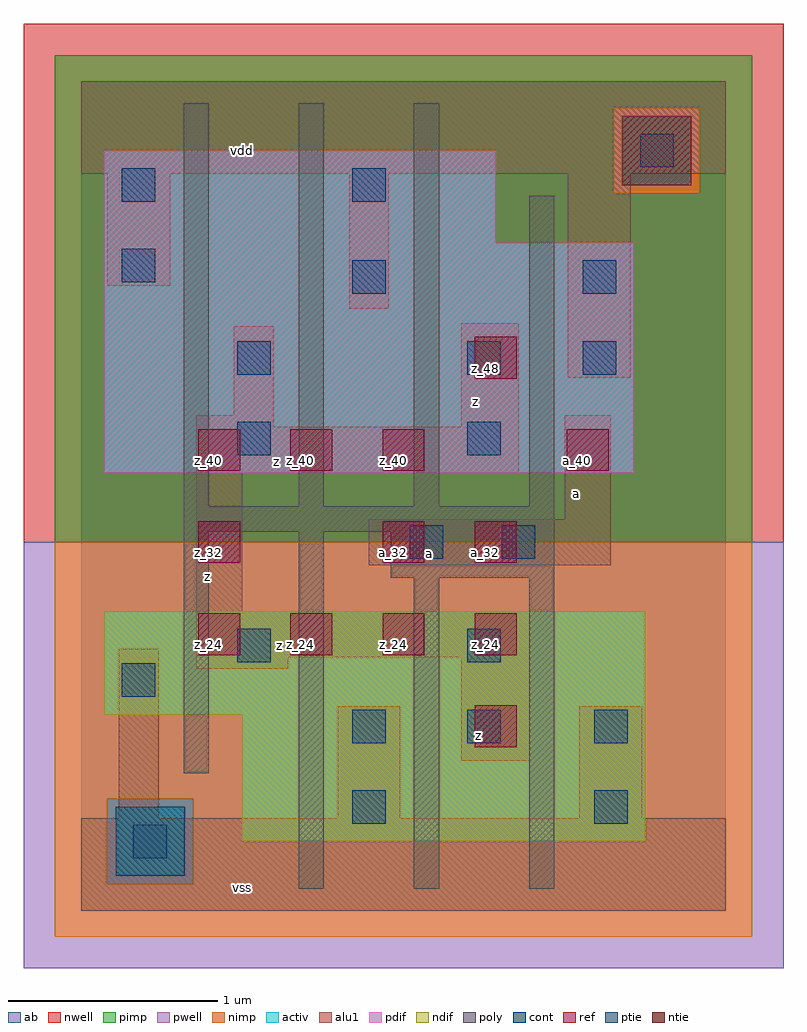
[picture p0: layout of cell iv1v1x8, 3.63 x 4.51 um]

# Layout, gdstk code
import gdstk
lib = gdstk.Library(unit=1e-6, precision=2.5e-09)
def R(c, l, rs):  # rectangles x0, y0, x1, y1
    for r in rs: c.add(gdstk.rectangle(r[:2], r[2:], *l))
def A(c, l, x, y, w, h, nx, ny, dx, dy):  # array of equal rectangles
    R(c, l, [(x+i*dx, y+j*dy, x+i*dx+w, y+j*dy+h) for i in range(nx) for j in range(ny)])
ndif = (3, 0)
pdif = (4, 0)
ntie = (5, 0)
ptie = (6, 0)
ref = (24, 0)
cont = (25, 0)
pwell = (41, 0)
nwell = (42, 0)
activ = (43, 0)
pimp = (44, 0)
nimp = (45, 0)
poly = (46, 0)
alu1 = (49, 0)
ab = (63, 0)

iv1v1x8 = lib.new_cell('iv1v1x8')
R(iv1v1x8, ndif, [(0.77,0.33,2.695,0.935), (0.11,0.935,2.695,1.43)])
R(iv1v1x8, pdif, [(0.11,2.09,2.64,3.19), (0.11,3.19,1.98,3.63)])
R(iv1v1x8, ntie, [(2.585,3.465,2.915,3.795)])
R(iv1v1x8, ptie, [(0.165,0.165,0.495,0.495)])
A(iv1v1x8, ref, 1.88, 0.78, 0.2, 0.2, 1, 3, 0, 0.88)
A(iv1v1x8, ref, 0.56, 1.22, 0.2, 0.2, 4, 1, 0.44, 0)
A(iv1v1x8, ref, 0.56, 2.1, 0.2, 0.2, 3, 1, 0.44, 0)
R(iv1v1x8, ref, [(0.56,1.66,0.76,1.86), (1.44,1.66,1.64,1.86), (2.32,2.1,2.52,2.3)])
R(iv1v1x8, cont, [(0.25,0.25,0.41,0.41), (1.295,0.415,1.455,0.575), (2.45,0.415,2.61,0.575), (1.295,0.8,1.455,0.96), (1.845,0.8,2.005,0.96), (2.45,0.8,2.61,0.96), (0.195,1.02,0.355,1.18), (0.745,1.185,0.905,1.345), (1.845,1.185,2.005,1.345), (1.57,1.68,1.73,1.84), (2.01,1.68,2.17,1.84), (0.745,2.175,0.905,2.335), (1.845,2.175,2.005,2.335), (0.745,2.56,0.905,2.72), (1.845,2.56,2.005,2.72), (2.395,2.56,2.555,2.72), (1.295,2.945,1.455,3.105), (2.395,2.945,2.555,3.105), (0.195,3,0.355,3.16), (0.195,3.385,0.355,3.545), (1.295,3.385,1.455,3.545), (2.67,3.55,2.83,3.71)])
R(iv1v1x8, pwell, [(-0.275,-0.275,3.355,1.76)])
R(iv1v1x8, nwell, [(-0.275,1.76,3.355,4.235)])
R(iv1v1x8, activ, [(0.165,0.165,0.495,0.495), (0.77,0.33,2.695,0.935), (0.11,0.935,2.695,1.43), (0.11,2.09,2.64,3.19), (0.11,3.19,1.98,3.63), (2.585,3.465,2.915,3.795)])
R(iv1v1x8, pimp, [(0.125,0.125,0.535,0.535), (-0.125,1.76,3.205,3.425), (-0.125,3.425,2.545,3.835), (2.955,3.425,3.205,3.835), (-0.125,3.835,3.205,4.085)])
R(iv1v1x8, nimp, [(-0.125,-0.125,3.205,0.125), (-0.125,0.125,0.125,0.535), (0.535,0.125,3.205,0.535), (-0.125,0.535,3.205,1.76), (2.545,3.425,2.955,3.835)])
A(iv1v1x8, poly, 0.49, 1.93, 0.12, 1.925, 3, 1, 0.55, 0)
R(iv1v1x8, poly, [(1.04,0.105,1.16,1.81), (1.59,0.105,1.71,1.59), (2.14,0.105,2.26,1.59), (0.49,0.655,0.61,1.81), (1.48,1.59,2.26,1.81), (0.49,1.81,2.26,1.93), (2.14,1.93,2.26,3.415)])
R(iv1v1x8, alu1, [(0,0,3.08,0.44), (0.18,0.44,0.37,1.25), (1.225,0.44,1.525,0.975), (2.38,0.44,2.68,0.975), (1.815,0.715,2.145,1.21), (0.55,1.155,0.99,1.21), (0.55,1.21,2.145,1.43), (0.55,1.43,0.77,2.09), (1.375,1.65,2.53,1.87), (2.31,1.87,2.53,2.365), (0.55,2.09,2.09,2.31), (0.55,2.31,0.92,2.365), (1.815,2.31,2.09,2.805), (0.73,2.365,0.92,2.79), (2.325,2.545,2.625,3.52), (1.28,2.875,1.47,3.52), (0.125,2.985,0.425,3.52), (0,3.52,3.08,3.96)])
R(iv1v1x8, ab, [(0,0,3.08,3.96)])
iv1v1x8.add(gdstk.Label('vss', (0.77,0.11), layer=49, texttype=0))
iv1v1x8.add(gdstk.Label('z', (1.8975,0.8375), layer=49, texttype=0))
iv1v1x8.add(gdstk.Label('z', (0.9475,1.265), layer=49, texttype=0))
iv1v1x8.add(gdstk.Label('a', (1.6625,1.705), layer=49, texttype=0))
iv1v1x8.add(gdstk.Label('a', (2.365,1.9925), layer=49, texttype=0))
iv1v1x8.add(gdstk.Label('z', (0.605,1.595), layer=49, texttype=0))
iv1v1x8.add(gdstk.Label('z', (0.935,2.145), layer=49, texttype=0))
iv1v1x8.add(gdstk.Label('z', (1.8825,2.4325), layer=49, texttype=0))
iv1v1x8.add(gdstk.Label('vdd', (0.77,3.63), layer=49, texttype=0))
iv1v1x8.add(gdstk.Label('z_24', (0.61,1.27), layer=24, texttype=0))
iv1v1x8.add(gdstk.Label('z_32', (0.61,1.71), layer=24, texttype=0))
iv1v1x8.add(gdstk.Label('z_40', (0.61,2.15), layer=24, texttype=0))
iv1v1x8.add(gdstk.Label('z_24', (1.05,1.27), layer=24, texttype=0))
iv1v1x8.add(gdstk.Label('z_40', (1.05,2.15), layer=24, texttype=0))
iv1v1x8.add(gdstk.Label('z_24', (1.49,1.27), layer=24, texttype=0))
iv1v1x8.add(gdstk.Label('a_32', (1.49,1.71), layer=24, texttype=0))
iv1v1x8.add(gdstk.Label('z_40', (1.49,2.15), layer=24, texttype=0))
iv1v1x8.add(gdstk.Label('z_16', (1.93,0.83), layer=24, texttype=0))
iv1v1x8.add(gdstk.Label('z_24', (1.93,1.27), layer=24, texttype=0))
iv1v1x8.add(gdstk.Label('a_32', (1.93,1.71), layer=24, texttype=0))
iv1v1x8.add(gdstk.Label('z_48', (1.93,2.59), layer=24, texttype=0))
iv1v1x8.add(gdstk.Label('a_40', (2.37,2.15), layer=24, texttype=0))

lib.write_gds('iv1v1x8.gds')
